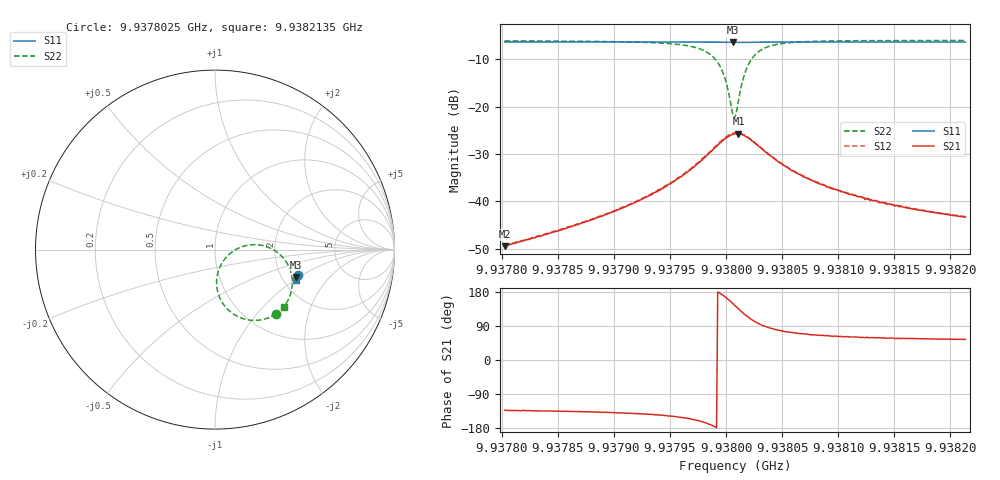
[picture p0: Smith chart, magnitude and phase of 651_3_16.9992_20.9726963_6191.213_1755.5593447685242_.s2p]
#  HZ  S  RI  R  50.00
! Rohde & Schwarz Vector Network Analyzer
! Rohde-Schwarz,ZNB20-2Port,1311601062101988,3.16
! Created: UTC 3/20/2024, 11:21:15 PM
! freq[Hz]  re:S11  im:S11  re:S21  im:S21  re:S12  im:S12  re:S22  im:S22
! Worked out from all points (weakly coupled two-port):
!   401 points, 9.9378025 GHz to 9.9382135 GHz, reference 50 ohm
!   highest |S21| = -25.72 dB at 9.9380111 GHz (marker M1); lowest = -49.5 dB at 9.9378025 GHz (marker M2)
!   lowest |S11| = -6.5 dB at 9.9380059 GHz (marker M3), VSWR 2.81, Z = 119 - j46.6 ohm
!   |S11| at or under -10 dB: nowhere
!   |S22| runs from -22.4 to -6.1 dB; largest |S21 - S12| = 0.0022
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9.93780245e9  0.4603 -0.1413  -0.00226 -0.00249  -0.00238 -0.0025  0.3408 -0.3564
9.93787131e9  0.4583 -0.1461  -0.00428 -0.00412  -0.0044 -0.00405  0.3194 -0.3695
9.93791036e9  0.457 -0.1489  -0.00673 -0.00563  -0.0069 -0.00564  0.2953 -0.3807
9.93794017e9  0.4558 -0.1512  -0.0107 -0.00747  -0.011 -0.00731  0.2595 -0.3908
9.937971e9  0.4538 -0.1536  -0.0209 -0.00883  -0.0218 -0.00875  0.1714 -0.3891
9.93798744e9  0.452 -0.1544  -0.0339 -0.0045  -0.0348 -0.00379  0.0727 -0.3349
9.93799361e9  0.4509 -0.1543  -0.0401 0.00145  -0.0412 0.00233  0.0309 -0.2776
9.93799772e9  0.45 -0.1538  -0.0436 0.00764  -0.0447 0.00901  0.0118 -0.2203
9.9380008e9  0.4497 -0.1534  -0.0451 0.014  -0.0459 0.0155  0.00942 -0.1676
9.93800594e9  0.4493 -0.1522  -0.0437 0.0259  -0.044 0.0279  0.0399 -0.0729
9.93800799e9  0.4496 -0.1517  -0.0416 0.0305  -0.0414 0.0327  0.0656 -0.0393
9.93800902e9  0.4497 -0.1514  -0.0402 0.0326  -0.0399 0.0348  0.0814 -0.0241
9.93801108e9  0.45 -0.151  -0.0366 0.0366  -0.036 0.0385  0.1162 0.00048
9.93801416e9  0.4506 -0.1506  -0.0301 0.0407  -0.0294 0.0425  0.1741 0.0225
9.93801827e9  0.4514 -0.1506  -0.0211 0.0429  -0.0201 0.0443  0.2496 0.0254
9.93802238e9  0.4522 -0.1505  -0.0133 0.0423  -0.0121 0.0432  0.3117 0.00651
9.93802855e9  0.4532 -0.1513  -0.00468 0.0384  -0.00346 0.0389  0.3735 -0.0388
9.93804499e9  0.4541 -0.1534  0.00484 0.0265  0.00554 0.0267  0.4277 -0.147
9.93807685e9  0.4538 -0.1569  0.00659 0.0151  0.00686 0.0151  0.4232 -0.2414
9.93810974e9  0.4529 -0.1595  0.00581 0.0104  0.00601 0.0104  0.4083 -0.2792
9.93814571e9  0.4519 -0.162  0.00502 0.00788  0.00519 0.00792  0.3965 -0.3
9.93821353e9  0.45 -0.1667  0.00396 0.00553  0.00411 0.00554  0.3817 -0.3202
